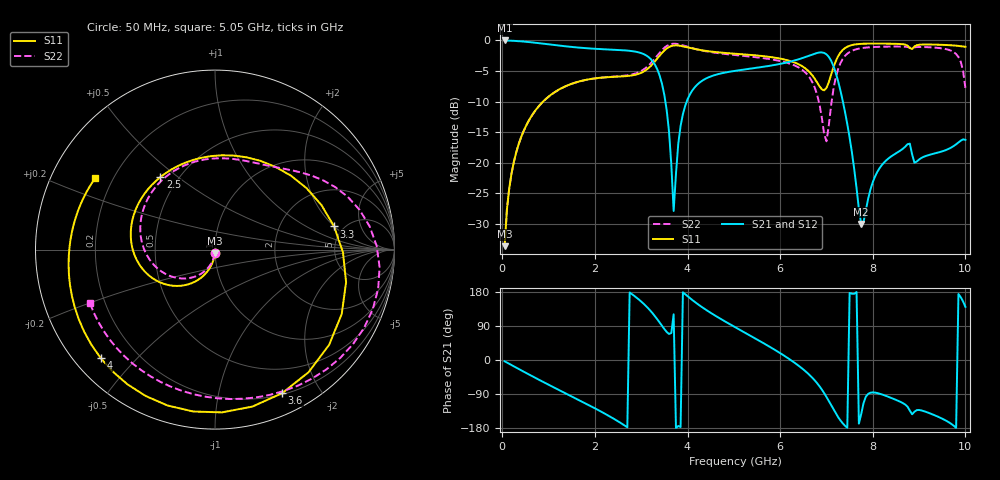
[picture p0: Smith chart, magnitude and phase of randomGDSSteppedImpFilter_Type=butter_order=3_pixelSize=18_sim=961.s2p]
! freq	dB(S11)	phase(S11)	dB(S12)	phase(S12)
!  dB(S21)	phase(S21)	dB(S22)	phase(S22)
!S-par simulation data
#  GHz  S  DB  R 50
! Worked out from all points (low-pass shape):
!   200 points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, 50 MHz to 10 GHz, reference 50 ohm
!   highest |S21| = -0.01 dB at 50 MHz (marker M1); lowest = -30.0 dB at 7.75 GHz (marker M2)
!   |S21| within 3 dB of the highest: start of sweep to 3.2 GHz; 6.432 GHz to 7.076 GHz (644.4 MHz wide, 9.54 % of centre)
!   lowest |S11| = -33.6 dB at 50 MHz (marker M3), VSWR 1.04, Z = 49.9 - j2.07 ohm
!   |S11| at or under -10 dB: start of sweep to 881.4 MHz
!   |S22| runs from -33.6 to -0.5 dB; largest |S21 - S12| = 0
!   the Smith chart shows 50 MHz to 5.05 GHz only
!   S11 on the Smith chart (normalised r, x): 50 MHz: 1.00, -0.04; 2.5 GHz: 0.40, +0.43; 3.3 GHz: 4.19, +1.99; 3.6 GHz: 0.21, -1.55; 4 GHz: 0.08, -0.40; 5.05 GHz: 0.13, +0.27
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0.05  -33.63 -92.9  -0.01 -3.4  -0.01 -3.4  -33.64 -93.8
0.2  -21.73 -102.2  -0.05 -13.5  -0.05 -13.5  -21.74 -105.6
0.5  -14.17 -119.6  -0.21 -33.3  -0.21 -33.3  -14.18 -128.2
1.75  -6.54 173.5  -1.24 -111.7  -1.24 -111.7  -6.55 142.1
2.5  -5.92 126.9  -1.56 -161.8  -1.56 -161.8  -5.87 88.6
3  -5.30 71.1  -2.08 154.2  -2.08 154.2  -5.00 55.4
3.3  -3.40 11.0  -4.02 115.0  -4.02 115.0  -2.91 32.7
3.4  -2.47 -14.0  -5.80 98.5  -5.80 98.5  -1.98 21.7
3.6  -1.08 -64.9  -14.88 68.7  -14.88 68.7  -0.70 -6.1
3.7  -0.84 -87.5  -27.89 120.5  -27.89 120.5  -0.54 -20.7
4  -1.13 -136.6  -9.64 168.5  -9.64 168.5  -1.03 -58.5
5.05  -2.19 149.0  -4.95 85.0  -4.95 85.0  -2.41 -157.0
6.05  -3.05 105.6  -3.76 14.3  -3.76 14.3  -3.46 104.8
6.7  -5.76 81.4  -2.28 -47.5  -2.28 -47.5  -6.89 12.7
7  -7.76 103.5  -2.27 -97.5  -2.27 -97.5  -16.49 -129.4
7.15  -4.42 111.1  -4.18 -130.1  -4.18 -130.1  -8.01 129.3
7.35  -1.56 95.5  -9.83 -166.9  -9.83 -166.9  -3.04 71.1
7.75  -0.56 66.4  -29.99 -142.8  -29.99 -142.8  -1.27 7.7
8.35  -0.53 36.1  -19.23 -97.7  -19.23 -97.7  -1.01 -46.9
9.35  -0.68 -4.9  -18.46 -146.5  -18.46 -146.5  -1.18 -109.8
9.8  -0.86 -23.4  -16.99 -179.2  -16.99 -179.2  -2.23 -143.7
10  -1.04 -30.8  -16.25 140.3  -16.25 140.3  -7.76 -171.0
